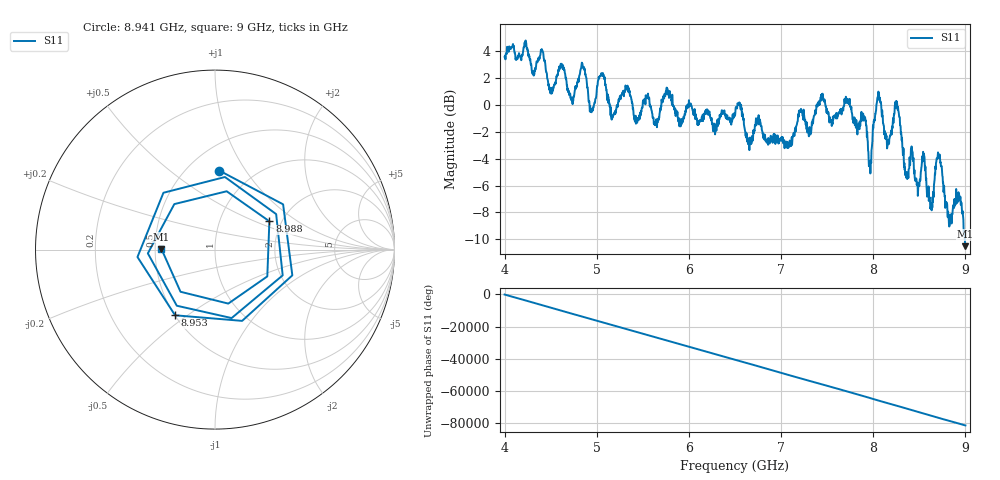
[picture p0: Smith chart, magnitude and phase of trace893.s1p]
! Created with skrf 1.8.0 (http://scikit-rf.org).
# Hz S RI R 50.0
!freq ReS11 ImS11
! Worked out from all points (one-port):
!   1601 points, 4 GHz to 9 GHz, reference 50 ohm
!   lowest |S11| = -10.5 dB at 9 GHz (marker M1), VSWR 1.85, Z = 27 + j0.204 ohm
!   |S11| at or under -10 dB: 8.992885 GHz to end of sweep
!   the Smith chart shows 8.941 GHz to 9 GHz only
!   S11 on the Smith chart (normalised r, x): 8.941 GHz: 0.70, +0.77; 8.953 GHz: 0.50, -0.45; 8.988 GHz: 1.73, +0.62; 9 GHz: 0.54, +0.00
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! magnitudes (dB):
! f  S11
! 4 GHz  3.6
! 4.409 GHz  4.0
! 4.509 GHz  0.8
! 4.625 GHz  2.8
! 4.728 GHz  0.4
! 4.847 GHz  2.9
! 4.941 GHz  -0.5
! 5.053 GHz  2.3
! 5.175 GHz  -0.9
! 5.25 GHz  0.6
! 5.875 GHz  -0.5
! 6.5 GHz  -0.8
! 7.125 GHz  -2.4
! 7.447 GHz  0.6
! 7.75 GHz  -0.1
! 7.966 GHz  -4.3
! 8.056 GHz  1.0
! 8.153 GHz  -3.1
! 8.259 GHz  0.1
! 8.375 GHz  -5.0
! 8.544 GHz  -3.7
! 8.628 GHz  -7.6
! 8.706 GHz  -3.8
! 8.828 GHz  -9.0
! 8.941 GHz  -7.1
! 8.953 GHz  -7.4
! 8.988 GHz  -9.3
! 9 GHz  -10.5
